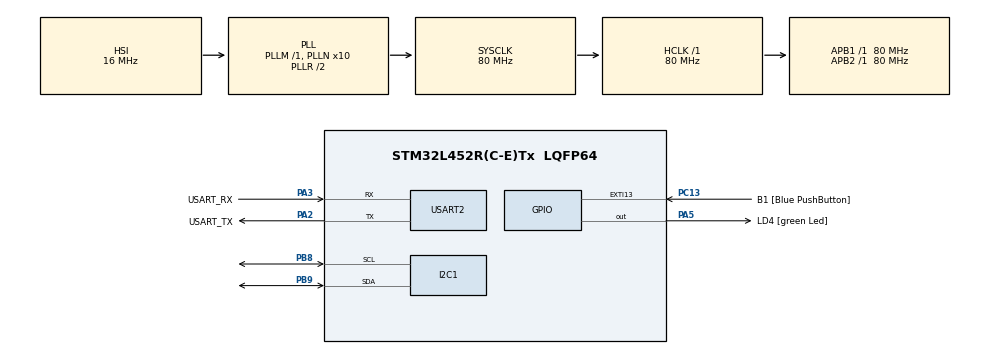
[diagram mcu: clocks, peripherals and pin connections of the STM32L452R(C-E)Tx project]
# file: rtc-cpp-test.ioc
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I2C1.Timing=0x10909CEC
Mcu.Family=STM32L4
Mcu.Name=STM32L452R(C-E)Tx
Mcu.Package=LQFP64
NVIC.PriorityGroup=NVIC_PRIORITYGROUP_4
PA13\ (JTMS/SWDIO).GPIO_Label=TMS
PA13\ (JTMS/SWDIO).Mode=Serial_Wire
PA13\ (JTMS/SWDIO).Signal=SYS_JTMS-SWDIO
PA14\ (JTCK/SWCLK).GPIO_Label=TCK
PA14\ (JTCK/SWCLK).Mode=Serial_Wire
PA14\ (JTCK/SWCLK).Signal=SYS_JTCK-SWCLK
PA2.GPIO_Label=USART_TX
PA2.GPIO_Mode=GPIO_MODE_AF_PP
PA2.GPIO_PuPd=GPIO_NOPULL
PA2.GPIO_Speed=GPIO_SPEED_FREQ_VERY_HIGH
PA2.Mode=Asynchronous
PA2.Signal=USART2_TX
PA3.GPIO_Label=USART_RX
PA3.GPIO_Mode=GPIO_MODE_AF_PP
PA3.GPIO_PuPd=GPIO_NOPULL
PA3.GPIO_Speed=GPIO_SPEED_FREQ_VERY_HIGH
PA3.Mode=Asynchronous
PA3.Signal=USART2_RX
PA5.GPIO_Label=LD4 [green Led]
PA5.GPIO_ModeDefaultOutputPP=GPIO_MODE_OUTPUT_PP
PA5.GPIO_PuPd=GPIO_NOPULL
PA5.GPIO_Speed=GPIO_SPEED_FREQ_LOW
PA5.Signal=GPIO_Output
PB3\ (JTDO/TRACESWO).GPIO_Label=SWO
PB3\ (JTDO/TRACESWO).Signal=SYS_JTDO-SWO
PB8.Mode=I2C
PB8.Signal=I2C1_SCL
PB9.Mode=I2C
PB9.Signal=I2C1_SDA
PC13.GPIO_Label=B1 [Blue PushButton]
PC13.GPIO_ModeDefaultEXTI=GPIO_MODE_IT_FALLING
PC13.GPIO_PuPd=GPIO_NOPULL
PC13.Signal=GPXTI13
PC14-OSC32_IN\ (PC14).Mode=LSE-External-Oscillator
PC14-OSC32_IN\ (PC14).Signal=RCC_OSC32_IN
PC15-OSC32_OUT\ (PC15).Mode=LSE-External-Oscillator
PC15-OSC32_OUT\ (PC15).Signal=RCC_OSC32_OUT
PH0-OSC_IN\ (PH0).Signal=RCC_OSC_IN
PH1-OSC_OUT\ (PH1).Signal=RCC_OSC_OUT
ProjectManager.HeapSize=0x200
ProjectManager.StackSize=0x400
ProjectManager.TargetToolchain=STM32CubeIDE
RCC.ADCFreq_Value=64000000
RCC.AHBFreq_Value=80000000
RCC.APB1Freq_Value=80000000
RCC.APB1TimFreq_Value=80000000
RCC.APB2Freq_Value=80000000
RCC.APB2TimFreq_Value=80000000
RCC.CortexFreq_Value=80000000
RCC.HCLKFreq_Value=80000000
RCC.HSE_VALUE=8000000
RCC.HSI48_VALUE=48000000
RCC.HSI_VALUE=16000000
RCC.MSI_VALUE=4000000
RCC.PLLN=10
RCC.PLLSourceVirtual=RCC_PLLSOURCE_HSI
RCC.PREFETCH_ENABLE=1
RCC.SYSCLKFreq_VALUE=80000000
RCC.SYSCLKSource=RCC_SYSCLKSOURCE_PLLCLK
RCC.USBFreq_Value=64000000
RCC.VCOOutputFreq_Value=160000000
USART2.VirtualMode-Asynchronous=VM_ASYNC
board=NUCLEO-L452RE

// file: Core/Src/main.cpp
/* USER CODE BEGIN Header */
/**
  ******************************************************************************
  * @file           : main.c
  * @brief          : Main program body
  ******************************************************************************
  * @attention
  *
  * Copyright (c) 2023 STMicroelectronics.
  * All rights reserved.
  *
  * This software is licensed under terms that can be found in the LICENSE file
  * in the root directory of this software component.
  * If no LICENSE file comes with this software, it is provided AS-IS.
  *
  ******************************************************************************
  * Date completed: Jun 13, 2023
  * Celine
  * Initializes RTC with date and time -> RTC will continue incrementing the time from there
  * SUCCESS
  */
/* USER CODE END Header */
#include "main.h"

/* USER CODE BEGIN Includes */
#include <string.h>
#include <stdio.h>
#include "RTClib.h"
/* USER CODE END Includes */

I2C_HandleTypeDef hi2c1;

UART_HandleTypeDef huart2;

/* USER CODE BEGIN PV */
#define rtc_address 0x68<<1
#define DS3231_STATUSREG 0x0F ///< Status register
#define DS3231_TIME 0x00 ///< Time register
/* USER CODE END PV */

void SystemClock_Config(void);
static void MX_GPIO_Init(void);
static void MX_USART2_UART_Init(void);
static void MX_I2C1_Init(void);
/* USER CODE BEGIN PFP */

// function definitions
void rtc_read_reg_bytes (uint8_t, uint8_t); // 1+ bytes
uint8_t rtc_read (uint8_t); // 1 byte
void rtc_write_reg (uint8_t, uint8_t); // 1 byte
bool lostPower(void);
uint8_t bin2bcd(uint8_t);

// variables
uint8_t data_rec[8];

// read function - for several bytes
void rtc_read_reg_bytes (uint8_t reg, uint8_t numberofbytes) {
	HAL_StatusTypeDef status = HAL_I2C_Mem_Read (&hi2c1, rtc_address, reg, 1, data_rec, numberofbytes, 100);

	// printing status
	HAL_UART_Transmit(&huart2, (uint8_t*)"\r\n rtc_read_reg_bytes", sizeof("\r\n rtc_read_reg_bytes"), 1000);
	if (HAL_ERROR == status) {
		HAL_UART_Transmit(&huart2, (uint8_t*)"\r\n HAL_ERROR returned", sizeof("\r\n HAL_ERROR returned"), 1000);
	} else if (HAL_BUSY == status){
		HAL_UART_Transmit(&huart2, (uint8_t*)"\r\n HAL_BUSY returned", sizeof("\r\n HAL_BUSY returned"), 100);
	} else if (HAL_OK == status) {
		HAL_UART_Transmit(&huart2, (uint8_t*)"\r\n HAL_OK returned", sizeof("\r\n HAL_OK returned"), 100);
	}
}

// read into a buffer
void rtc_read_buf (uint8_t* buf, uint8_t size) {
	HAL_StatusTypeDef status = HAL_I2C_Mem_Read(&hi2c1, rtc_address, buf[0], 1, buf, size, 100);// reg = buf[0]

	// printing status
	HAL_UART_Transmit(&huart2, (uint8_t*)"\r\n rtc_read_buf", sizeof("\r\n rtc_read_buf"), 1000);
	if (HAL_ERROR == status) {
		HAL_UART_Transmit(&huart2, (uint8_t*)"\r\n HAL_ERROR returned", sizeof("\r\n HAL_ERROR returned"), 1000);
	} else if (HAL_BUSY == status){
		HAL_UART_Transmit(&huart2, (uint8_t*)"\r\n HAL_BUSY returned", sizeof("\r\n HAL_BUSY returned"), 100);
	} else if (HAL_OK == status) {
		HAL_UART_Transmit(&huart2, (uint8_t*)"\r\n HAL_OK returned", sizeof("\r\n HAL_OK returned"), 100);
	}
}

// read function - for one byte
uint8_t rtc_read_reg (uint8_t reg) {
	HAL_StatusTypeDef status = HAL_I2C_Mem_Read (&hi2c1, rtc_address, reg, 1, data_rec, 1, 100);

	// printing status
	HAL_UART_Transmit(&huart2, (uint8_t*)"\r\n rtc_read_reg", sizeof("\r\n rtc_read_reg"), 1000);
	if (HAL_ERROR == status) {
		HAL_UART_Transmit(&huart2, (uint8_t*)"\r\n HAL_ERROR returned", sizeof("\r\n HAL_ERROR returned"), 1000);
	} else if (HAL_BUSY == status){
		HAL_UART_Transmit(&huart2, (uint8_t*)"\r\n HAL_BUSY returned", sizeof("\r\n HAL_BUSY returned"), 100);
	} else if (HAL_OK == status) {
		HAL_UART_Transmit(&huart2, (uint8_t*)"\r\n HAL_OK returned", sizeof("\r\n HAL_OK returned"), 100);
	}

	return data_rec[0];
}

// write function - for one byte - TODO: test this function
void rtc_write_reg (uint8_t reg, uint8_t value) {
	uint8_t data[2];
	data[0] = reg;
	data[1] = value;
	HAL_StatusTypeDef status = HAL_I2C_Master_Transmit (&hi2c1, rtc_address, data, 2, 10);
	// printing status
	HAL_UART_Transmit(&huart2, (uint8_t*)"\r\n rtc_write_reg", sizeof("\r\n rtc_write_reg"), 1000);
	if (HAL_ERROR == status) {
		HAL_UART_Transmit(&huart2, (uint8_t*)"\r\n HAL_ERROR returned", sizeof("\r\n HAL_ERROR returned"), 1000);
	} else if (HAL_BUSY == status){
		HAL_UART_Transmit(&huart2, (uint8_t*)"\r\n HAL_BUSY returned", sizeof("\r\n HAL_BUSY returned"), 100);
	} else if (HAL_OK == status) {
		HAL_UART_Transmit(&huart2, (uint8_t*)"\r\n HAL_OK returned", sizeof("\r\n HAL_OK returned"), 100);
	}
}

// write function - for 8 bytes - TODO: test this function
void rtc_write_reg_bytes (uint8_t* buf, uint8_t size) {
	uint8_t data[size] = {0};

	// copy buffer data into i2c data buffer
	for (int i=0; i<size; i++) {
		data[i] = buf[i];
	}

	HAL_StatusTypeDef status = HAL_I2C_Master_Transmit (&hi2c1, rtc_address, data, size, 100);

	// printing status
	HAL_UART_Transmit(&huart2, (uint8_t*)"\r\n rtc_write_reg_bytes", sizeof("\r\n rtc_write_reg_bytes"), 1000);
	if (HAL_ERROR == status) {
		HAL_UART_Transmit(&huart2, (uint8_t*)"\r\n HAL_ERROR returned", sizeof("\r\n HAL_ERROR returned"), 1000);
	} else if (HAL_BUSY == status){
		HAL_UART_Transmit(&huart2, (uint8_t*)"\r\n HAL_BUSY returned", sizeof("\r\n HAL_BUSY returned"), 100);
	} else if (HAL_OK == status) {
		HAL_UART_Transmit(&huart2, (uint8_t*)"\r\n HAL_OK returned", sizeof("\r\n HAL_OK returned"), 100);
	}
}

bool lostPower(void) {
  return rtc_read_reg(DS3231_STATUSREG)>>7; // check bit 7 of status register
}

/*
	@brief  Convert a binary value to BCD format for the RTC registers
	@param val Binary value
	@return BCD value
*/
uint8_t bin2bcd(uint8_t val) { // TODO: check bin2bcd - whether it works or not
	return val + 6 * (val / 10);
}

/*!
  @brief  Convert the day of the week to a representation suitable for
		  storing in the DS3231: from 1 (Monday) to 7 (Sunday).
  @param  d Day of the week as represented by the library:
		  from 0 (Sunday) to 6 (Saturday).
  @return the converted value
*/
static uint8_t dowToDS3231(uint8_t d) { return d == 0 ? 7 : d; };

/*
    @brief  Set the date and flip the Oscillator Stop Flag
    @param dt DateTime object containing the date/time to set
*/
void adjust(const DateTime &dt) { // TODO: create DateTime class
										// reference: https://github.com/adafruit/RTClib/blob/33fb0400c8241a5e604d0d9bd1c3a79b8a19cc4a/src/RTClib.cpp#LL202C1-L202C1
	uint8_t buffer[] = {DS3231_TIME, // register to write to (time register)
	                       bin2bcd(dt.second()), // write bin2bcd function
						   	   	   	   	   	   	   // reference: https://github.com/adafruit/RTClib/blob/33fb0400c8241a5e604d0d9bd1c3a79b8a19cc4a/src/RTClib.h#L340
	                       bin2bcd(dt.minute()),
	                       bin2bcd(dt.hour()),
	                       bin2bcd(dowToDS3231(dt.dayOfTheWeek())), // TODO: write dayOfTheWeek function inside DateTime class - https://github.com/adafruit/RTClib/blob/33fb0400c8241a5e604d0d9bd1c3a79b8a19cc4a/src/RTClib.cpp#L553
						   	   	   	   	   	   	   	   	   	   	   	   // TODO: dowToDS3231 function - https://github.com/adafruit/RTClib/blob/33fb0400c8241a5e604d0d9bd1c3a79b8a19cc4a/src/RTClib.h#L398
	                       bin2bcd(dt.day()),
	                       bin2bcd(dt.month()),
	                       bin2bcd(dt.year() - 2000U)};

	rtc_write_reg_bytes(buffer,sizeof(buffer)); //TODO: write rtc_write_reg_bytes function for several bytes
							// reference: https://github.com/adafruit/Adafruit_BusIO/blob/42e31a252f3cfd81aaa5668258d3dcb837524660/Adafruit_I2CDevice.cpp#L95
	uint8_t statreg = rtc_read_reg(DS3231_STATUSREG);
//	statreg &= ~0x80; // flip OSF bit
	statreg &= ~0x8; // flip OSF bit
	rtc_write_reg(DS3231_STATUSREG, statreg);
}

/*!
  @brief  Convert a binary coded decimal value to binary. RTC stores
time/date values as BCD.
  @param val BCD value
  @return Binary value
*/
static uint8_t bcd2bin(uint8_t val) { //TODO: check functionality
	return val - 6 * (val >> 4);
}

/**************************************************************************/
/*!
    @brief  Get the current date/time
    @return DateTime object with the current date/time
*/
/**************************************************************************/
DateTime now(void) {
  uint8_t buf1[1] = {0};
  uint8_t buf2[7] = {0};
  buf1[0] = 0; // first element it 0
  buf2[0] = 0; // first element it 0

  rtc_write_reg_bytes (buf1,sizeof(buf1));
  rtc_read_buf (buf2, sizeof(buf2));

  return DateTime(bcd2bin(buf2[6]) + 2000U, // uint16_t year
		  	  	  bcd2bin(buf2[5] & 0x7F), //uint8_t month
                  bcd2bin(buf2[4]), //uint8_t day
				  bcd2bin(buf2[2]), //uint8_t hour
				  bcd2bin(buf2[1]), //uint8_t min
                  bcd2bin(buf2[0] & 0x7F)); //uint8_t sec
}

/* USER CODE END PFP */

int main(void)
{

  /* MCU Configuration--------------------------------------------------------*/

  /* Reset of all peripherals, Initializes the Flash interface and the Systick. */
  HAL_Init();

  /* Configure the system clock */
  SystemClock_Config();

  /* Initialize all configured peripherals */
  MX_GPIO_Init();
  MX_USART2_UART_Init();
  MX_I2C1_Init();
  /* USER CODE BEGIN 2 */

  HAL_UART_Transmit(&huart2, (uint8_t*)"\r\n ========Starting======== \r\n ========================",
		  sizeof("\r\n ========Starting======== \r\n ========================"), 100);

  // sample initialization of Datetime
  uint16_t year = 2023;
  uint8_t month = 6;
  uint8_t day = 13;
  uint8_t hour = 10;
  uint8_t min = 57;
  uint8_t sec = 2;

  DateTime dt (year,month,day,hour,min,sec);

  // check if there's a power loss
  if (lostPower()) {
	  char msg1[] = "\r\n RTC lost power, let's set the time!";
	  HAL_UART_Transmit(&huart2, (uint8_t*)msg1, sizeof(msg1), 100);

	  // When time needs to be set on a new device, or after a power loss, the
	  // following line sets the RTC to the date & time this sketch was compiled
	  adjust(dt);
	  // This line sets the RTC with an explicit date & time

  } else {
	  char msg2[] = "\r\n RTC has power";
	  HAL_UART_Transmit(&huart2, (uint8_t*)msg2, sizeof(msg2), 100);
  }

  adjust(dt);
  HAL_UART_Transmit(&huart2, (uint8_t*)"\r\n adjust done", sizeof("\r\n adjust done"), 100);

  HAL_UART_Transmit(&huart2, (uint8_t*)"\r\n xxxxxxxxxxxxxxxxxxxxxxxxxxxxx",
  		  sizeof("\r\n xxxxxxxxxxxxxxxxxxxxxxxxxxxxx"), 100);

  /* USER CODE END 2 */

  /* Infinite loop */
  while (1)
  {

    /* USER CODE BEGIN 3 */
	DateTime current = now();

	uint16_t year = current.year();
	uint8_t month = current.month();
	uint8_t day = current.day();
	uint8_t hour = current.hour();
	uint8_t min = current.minute();
	uint8_t sec = current.second();

	char buffer[100] = {};

	// Convert the integer to a string
	sprintf(buffer, "\r\n year: %u \r\n month: %d \r\n day: %d \r\n hour: %d \r\n min: %d \r\n sec: %d\r\n", year,month,day,hour,min,sec);

	// Transmit the string via UART
	HAL_UART_Transmit(&huart2, (uint8_t *)buffer, sizeof(buffer), 100);

	HAL_Delay(1000);

  }
  /* USER CODE END 3 */
}

void SystemClock_Config(void)
{
  RCC_OscInitTypeDef RCC_OscInitStruct = {0};
  RCC_ClkInitTypeDef RCC_ClkInitStruct = {0};

  /** Configure the main internal regulator output voltage
  */
  if (HAL_PWREx_ControlVoltageScaling(PWR_REGULATOR_VOLTAGE_SCALE1) != HAL_OK)
  {
    Error_Handler();
  }

  /** Initializes the RCC Oscillators according to the specified parameters
  * in the RCC_OscInitTypeDef structure.
  */
  RCC_OscInitStruct.OscillatorType = RCC_OSCILLATORTYPE_HSI;
  RCC_OscInitStruct.HSIState = RCC_HSI_ON;
  RCC_OscInitStruct.HSICalibrationValue = RCC_HSICALIBRATION_DEFAULT;
  RCC_OscInitStruct.PLL.PLLState = RCC_PLL_ON;
  RCC_OscInitStruct.PLL.PLLSource = RCC_PLLSOURCE_HSI;
  RCC_OscInitStruct.PLL.PLLM = 1;
  RCC_OscInitStruct.PLL.PLLN = 10;
  RCC_OscInitStruct.PLL.PLLP = RCC_PLLP_DIV7;
  RCC_OscInitStruct.PLL.PLLQ = RCC_PLLQ_DIV2;
  RCC_OscInitStruct.PLL.PLLR = RCC_PLLR_DIV2;
  if (HAL_RCC_OscConfig(&RCC_OscInitStruct) != HAL_OK)
  {
    Error_Handler();
  }

  /** Initializes the CPU, AHB and APB buses clocks
  */
  RCC_ClkInitStruct.ClockType = RCC_CLOCKTYPE_HCLK|RCC_CLOCKTYPE_SYSCLK
                              |RCC_CLOCKTYPE_PCLK1|RCC_CLOCKTYPE_PCLK2;
  RCC_ClkInitStruct.SYSCLKSource = RCC_SYSCLKSOURCE_PLLCLK;
  RCC_ClkInitStruct.AHBCLKDivider = RCC_SYSCLK_DIV1;
  RCC_ClkInitStruct.APB1CLKDivider = RCC_HCLK_DIV1;
  RCC_ClkInitStruct.APB2CLKDivider = RCC_HCLK_DIV1;

  if (HAL_RCC_ClockConfig(&RCC_ClkInitStruct, FLASH_LATENCY_4) != HAL_OK)
  {
    Error_Handler();
  }
}

static void MX_I2C1_Init(void)
{

  hi2c1.Instance = I2C1;
  hi2c1.Init.Timing = 0x10909CEC;
  hi2c1.Init.OwnAddress1 = 0;
  hi2c1.Init.AddressingMode = I2C_ADDRESSINGMODE_7BIT;
  hi2c1.Init.DualAddressMode = I2C_DUALADDRESS_DISABLE;
  hi2c1.Init.OwnAddress2 = 0;
  hi2c1.Init.OwnAddress2Masks = I2C_OA2_NOMASK;
  hi2c1.Init.GeneralCallMode = I2C_GENERALCALL_DISABLE;
  hi2c1.Init.NoStretchMode = I2C_NOSTRETCH_DISABLE;
  if (HAL_I2C_Init(&hi2c1) != HAL_OK)
  {
    Error_Handler();
  }

  /** Configure Analogue filter
  */
  if (HAL_I2CEx_ConfigAnalogFilter(&hi2c1, I2C_ANALOGFILTER_ENABLE) != HAL_OK)
  {
    Error_Handler();
  }

  /** Configure Digital filter
  */
  if (HAL_I2CEx_ConfigDigitalFilter(&hi2c1, 0) != HAL_OK)
  {
    Error_Handler();
  }

}

static void MX_USART2_UART_Init(void)
{

  huart2.Instance = USART2;
  huart2.Init.BaudRate = 115200;
  huart2.Init.WordLength = UART_WORDLENGTH_8B;
  huart2.Init.StopBits = UART_STOPBITS_1;
  huart2.Init.Parity = UART_PARITY_NONE;
  huart2.Init.Mode = UART_MODE_TX_RX;
  huart2.Init.HwFlowCtl = UART_HWCONTROL_NONE;
  huart2.Init.OverSampling = UART_OVERSAMPLING_16;
  huart2.Init.OneBitSampling = UART_ONE_BIT_SAMPLE_DISABLE;
  huart2.AdvancedInit.AdvFeatureInit = UART_ADVFEATURE_NO_INIT;
  if (HAL_UART_Init(&huart2) != HAL_OK)
  {
    Error_Handler();
  }

}

static void MX_GPIO_Init(void)
{
  GPIO_InitTypeDef GPIO_InitStruct = {0};

  /* GPIO Ports Clock Enable */
  __HAL_RCC_GPIOC_CLK_ENABLE();
  __HAL_RCC_GPIOH_CLK_ENABLE();
  __HAL_RCC_GPIOA_CLK_ENABLE();
  __HAL_RCC_GPIOB_CLK_ENABLE();

  /*Configure GPIO pin Output Level */
  HAL_GPIO_WritePin(LD4_GPIO_Port, LD4_Pin, GPIO_PIN_RESET);

  /*Configure GPIO pin : B1_Pin */
  GPIO_InitStruct.Pin = B1_Pin;
  GPIO_InitStruct.Mode = GPIO_MODE_IT_FALLING;
  GPIO_InitStruct.Pull = GPIO_NOPULL;
  HAL_GPIO_Init(B1_GPIO_Port, &GPIO_InitStruct);

  /*Configure GPIO pin : LD4_Pin */
  GPIO_InitStruct.Pin = LD4_Pin;
  GPIO_InitStruct.Mode = GPIO_MODE_OUTPUT_PP;
  GPIO_InitStruct.Pull = GPIO_NOPULL;
  GPIO_InitStruct.Speed = GPIO_SPEED_FREQ_LOW;
  HAL_GPIO_Init(LD4_GPIO_Port, &GPIO_InitStruct);

}

void Error_Handler(void)
{
  __disable_irq();
  while (1)
  {
  }
}
